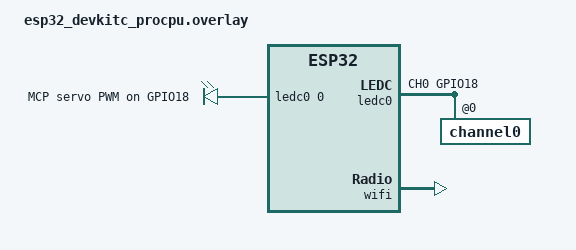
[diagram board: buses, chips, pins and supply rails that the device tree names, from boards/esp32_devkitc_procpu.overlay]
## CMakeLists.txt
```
cmake_minimum_required(VERSION 3.20.0)

find_package(Zephyr REQUIRED HINTS $ENV{ZEPHYR_BASE})
project(mcp_zephyr_app)

set(MCP_ROOT ${CMAKE_CURRENT_LIST_DIR}/../../..)
target_include_directories(
  app PRIVATE ${MCP_ROOT}/include ${MCP_ROOT}/third_party/jsmn
              ${MCP_ROOT}/examples/common ${CMAKE_CURRENT_LIST_DIR}/include)
target_sources(
  app PRIVATE
  ${MCP_ROOT}/src/core/message.c
  ${MCP_ROOT}/src/core/json_writer.c
  ${MCP_ROOT}/src/server/server.c
  ${MCP_ROOT}/src/transport/transport.c
  ${MCP_ROOT}/src/transport/http_transport.c
  ${MCP_ROOT}/src/transport/mqtt_binding.c
  ${MCP_ROOT}/examples/common/demo_tools.c
  ${CMAKE_CURRENT_LIST_DIR}/src/main.c
  ${CMAKE_CURRENT_LIST_DIR}/src/servo_backend.c)
if(CONFIG_WIFI)
  target_sources(app PRIVATE ${CMAKE_CURRENT_LIST_DIR}/src/wifi.c)
endif()
target_compile_definitions(app PRIVATE MCP_VERSION="0.2.0")

set(WIFI_SSID_VALUE $ENV{WIFI_SSID})
set(WIFI_PASS_VALUE $ENV{WIFI_PASS})
if(DEFINED WIFI_SSID)
  set(WIFI_SSID_VALUE ${WIFI_SSID})
endif()
if(DEFINED WIFI_PASS)
  set(WIFI_PASS_VALUE ${WIFI_PASS})
endif()
if(NOT WIFI_SSID_VALUE)
  set(WIFI_SSID_VALUE "WIFI_SSID_NOT_SET")
endif()
if(NOT WIFI_PASS_VALUE)
  set(WIFI_PASS_VALUE "WIFI_PASS_NOT_SET")
endif()
target_compile_definitions(app PRIVATE WIFI_SSID="${WIFI_SSID_VALUE}"
                                       WIFI_PASS="${WIFI_PASS_VALUE}")
```

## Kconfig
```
# Pull in Zephyr's Kconfig tree so standard symbols are available to the app
source "Kconfig.zephyr"

menu "MCP Zephyr App"

endmenu
```

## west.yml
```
manifest:
  defaults:
    remote: zephyrproject

  remotes:
    - name: zephyrproject
      url-base: https://github.com/zephyrproject-rtos

  projects:
    - name: zephyr
      remote: zephyrproject
      repo-path: zephyr
      revision: v4.3.0
      # Checkout Zephyr under the app folder to avoid name/path collisions
      path: zephyr
      import: true

  self:
    # The manifest repository already lives here when scripts/build-zephyr.sh
    # initializes examples/zephyr as the west workspace.
    path: mcp_server
```

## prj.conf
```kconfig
## Minimal MCP over Wi-Fi configuration (ESP32, Zephyr 4.3)

# POSIX compatibility used by the compact socket transport
CONFIG_POSIX_API=y

# Logging and console
CONFIG_LOG=y
CONFIG_LOG_DEFAULT_LEVEL=2
CONFIG_PRINTK=y
CONFIG_UART_CONSOLE=y
CONFIG_CONSOLE=y

# Console hardware
CONFIG_SERIAL=y

# Networking core
CONFIG_NETWORKING=y
CONFIG_NET_SOCKETS=y
CONFIG_NET_IPV4=y
CONFIG_NET_TCP=y

# Disable heavier subsystems
CONFIG_SHELL=n
CONFIG_PM=n
CONFIG_SMP=n

# Stack / heap
CONFIG_MAIN_STACK_SIZE=12288
CONFIG_SYSTEM_WORKQUEUE_STACK_SIZE=4096
CONFIG_HEAP_MEM_POOL_SIZE=46384
```

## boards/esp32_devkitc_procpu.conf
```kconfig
# ESP32 board configuration (Zephyr 4.3)
# Keep only valid symbols for the current tree.

# Libc and actuator hardware
CONFIG_NEWLIB_LIBC=y
CONFIG_GPIO=y
CONFIG_PWM=y

# WiFi core
CONFIG_WIFI=y
CONFIG_NET_DHCPV4=y
CONFIG_NET_MGMT=y
CONFIG_NET_MGMT_EVENT=y
CONFIG_NET_L2_WIFI_MGMT=y

# Enable ESP32 Wi-Fi driver (requires blobs)
CONFIG_WIFI_ESP32=y

# Auto DHCP when STA connects
CONFIG_ESP32_WIFI_STA_AUTO_DHCPV4=y

# If you have an older silicon revision, you may need this; otherwise leave unset
CONFIG_ESP32_USE_UNSUPPORTED_REVISION=y
```

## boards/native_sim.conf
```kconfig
# Native simulation configuration for MCP server
# Uses native offloaded sockets (localhost access, no sudo required)

# Logging and console
CONFIG_LOG=y
CONFIG_PRINTK=y

# Disable TAP interface
CONFIG_ETH_NATIVE_TAP=n

# Enable network drivers and sockets with offloading
CONFIG_NET_DRIVERS=y
CONFIG_NET_SOCKETS=y
CONFIG_NET_SOCKETS_OFFLOAD=y
CONFIG_NET_NATIVE_OFFLOADED_SOCKETS=y

# Disable WiFi
CONFIG_WIFI=n

# Stack / heap
CONFIG_MAIN_STACK_SIZE=8192
CONFIG_SYSTEM_WORKQUEUE_STACK_SIZE=4096
CONFIG_HEAP_MEM_POOL_SIZE=46384
CONFIG_COMMON_LIBC_MALLOC_ARENA_SIZE=32768
```

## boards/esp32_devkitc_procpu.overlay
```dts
#include <zephyr/dt-bindings/pwm/pwm.h>

/ {
	aliases {
		servo-pwm = &servo_pwm;
	};

	pwmleds {
		compatible = "pwm-leds";
		servo_pwm: servo_pwm_gpio18 {
			label = "MCP servo PWM on GPIO18";
			pwms = <&ledc0 0 PWM_MSEC(20) PWM_POLARITY_NORMAL>;
		};
	};
};

&pinctrl {
	ledc0_default: ledc0_default {
		group1 {
			pinmux = <LEDC_CH0_GPIO18>;
			output-enable;
		};
	};
};

&ledc0 {
	pinctrl-0 = <&ledc0_default>;
	pinctrl-names = "default";
	status = "okay";
	#address-cells = <1>;
	#size-cells = <0>;
	channel0@0 {
		reg = <0x0>;
		timer = <0>;
	};
};

&wifi {
	status = "okay";
};
```

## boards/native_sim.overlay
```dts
/* Device tree overlay for native_sim board */
/* This is typically minimal for native_sim as it uses host networking */
```

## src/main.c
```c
#include "demo_tools.h"
#include "mcp_transport.h"
#include "servo_backend.h"
#include "wifi.h"

#include <zephyr/kernel.h>
#include <zephyr/logging/log.h>
#include <zephyr/net/net_if.h>
#include <zephyr/net/net_ip.h>
#include <zephyr/net/net_mgmt.h>

LOG_MODULE_REGISTER(mcp_zephyr_app, LOG_LEVEL_INF);

#ifdef CONFIG_BOARD_NATIVE_SIM
#define MCP_ZEPHYR_SERVER_NAME "mcp-c-native-sim"
#define MCP_ZEPHYR_INSTRUCTIONS "Control a simulated servo and inspect its commanded angle."
#else
#define MCP_ZEPHYR_SERVER_NAME "mcp-c-esp32"
#define MCP_ZEPHYR_INSTRUCTIONS "Control the ESP32 servo on GPIO18 and inspect its commanded angle."
#endif

#ifdef CONFIG_WIFI
static struct net_mgmt_event_callback ipv4_cb;

static void log_ipv4(struct net_if *iface) {
    struct in_addr *address = net_if_ipv4_get_global_addr(iface, NET_ADDR_PREFERRED);
    if (address && address->s_addr != 0) {
        char text[NET_IPV4_ADDR_LEN];
        net_addr_ntop(AF_INET, address, text, sizeof(text));
        LOG_INF("MCP endpoint: http://%s:8080/mcp", text);
    }
}

static void ipv4_event_handler(struct net_mgmt_event_callback *callback, uint64_t event,
                               struct net_if *iface) {
    ARG_UNUSED(callback);
    if (event == NET_EVENT_IPV4_ADDR_ADD) log_ipv4(iface);
}
#endif

int main(void) {
    mcp_server_config_t server_config = {
        .name = MCP_ZEPHYR_SERVER_NAME,
        .version = MCP_VERSION,
        .instructions = MCP_ZEPHYR_INSTRUCTIONS,
        .max_request_size = 4096,
    };
    mcp_http_config_t http_config = {
        .bind_address = "0.0.0.0",
        .port = 8080,
        .backlog = 4,
    };
    mcp_server_t *server;
    mcp_transport_t http;
    servo_backend_t servo;

#ifdef CONFIG_WIFI
    wifi_init(NULL);
    if (connect_to_wifi() < 0 || wait_for_wifi_connection() < 0) {
        LOG_ERR("Wi-Fi connection failed");
        return 0;
    }
    net_mgmt_init_event_callback(&ipv4_cb, ipv4_event_handler, NET_EVENT_IPV4_ADDR_ADD);
    net_mgmt_add_event_callback(&ipv4_cb);
    log_ipv4(net_if_get_default());
#endif

    if (zephyr_servo_backend_init(&servo) != MCP_OK) return 0;
    server = mcp_server_init(&server_config);
    if (server == NULL || demo_register_tools(server, &servo) != MCP_OK) {
        LOG_ERR("MCP core initialization failed");
        return 0;
    }
    if (mcp_http_transport_init(&http, &http_config) != MCP_OK ||
        mcp_transport_open(&http, server) != MCP_OK) {
        LOG_ERR("MCP HTTP transport initialization failed");
        mcp_server_deinit(server);
        return 0;
    }
    LOG_INF("MCP %s ready; servo backend: %s", MCP_PROTOCOL_VERSION,
            zephyr_servo_backend_is_hardware() ? "PWM hardware" : "simulated");
    while (mcp_transport_poll(&http, 250) == MCP_OK) {}
    mcp_transport_close(&http);
    mcp_server_deinit(server);
    return 0;
}
```

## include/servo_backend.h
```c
#ifndef MCP_ZEPHYR_SERVO_BACKEND_H
#define MCP_ZEPHYR_SERVO_BACKEND_H

#include "demo_tools.h"

/* Uses the servo-pwm devicetree alias when present, otherwise the fake backend. */
int zephyr_servo_backend_init(servo_backend_t *backend);
int zephyr_servo_backend_is_hardware(void);

#endif
```

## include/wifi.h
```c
/* Minimal Wi‑Fi API used by the Zephyr MCP example */

#pragma once

#include <zephyr/kernel.h>

int wifi_init(void *unused);
int connect_to_wifi(void);
int wait_for_wifi_connection(void);
int wifi_disconnect(void);
```

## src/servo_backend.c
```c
#include "servo_backend.h"

#include <zephyr/device.h>
#include <zephyr/devicetree.h>
#include <zephyr/drivers/pwm.h>
#include <zephyr/logging/log.h>

LOG_MODULE_REGISTER(mcp_servo, LOG_LEVEL_INF);

#if DT_NODE_HAS_STATUS(DT_ALIAS(servo_pwm), okay)

static const struct pwm_dt_spec servo_pwm = PWM_DT_SPEC_GET(DT_ALIAS(servo_pwm));
static int current_angle = 90;

static int set_angle(servo_backend_t *backend, int angle) {
    uint32_t pulse_us = 500U + ((uint32_t)angle * 2000U) / 180U;
    int result;
    ARG_UNUSED(backend);
    result = pwm_set_dt(&servo_pwm, PWM_MSEC(20), PWM_USEC(pulse_us));
    if (result == 0) current_angle = angle;
    return result == 0 ? MCP_OK : MCP_ERR;
}

static int get_angle(servo_backend_t *backend, int *angle) {
    ARG_UNUSED(backend);
    *angle = current_angle;
    return MCP_OK;
}

int zephyr_servo_backend_init(servo_backend_t *backend) {
    if (!pwm_is_ready_dt(&servo_pwm)) {
        LOG_ERR("Servo PWM device is not ready");
        return MCP_ERR;
    }
    backend->set_angle = set_angle;
    backend->get_angle = get_angle;
    backend->state = NULL;
    LOG_INF("Hardware servo enabled on devicetree alias servo-pwm");
    return set_angle(backend, current_angle);
}

int zephyr_servo_backend_is_hardware(void) { return 1; }

#else

static demo_fake_servo_t fake_servo;

int zephyr_servo_backend_init(servo_backend_t *backend) {
    demo_fake_servo_init(backend, &fake_servo);
    LOG_INF("No servo-pwm alias; using deterministic simulated servo");
    return MCP_OK;
}

int zephyr_servo_backend_is_hardware(void) { return 0; }

#endif
```

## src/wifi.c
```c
#include <zephyr/logging/log.h>
#include <zephyr/net/net_mgmt.h>
#include <zephyr/net/wifi_mgmt.h>
#include <zephyr/net/net_if.h>
#include <zephyr/kernel.h>
#include <string.h>

LOG_MODULE_REGISTER(wifi, LOG_LEVEL_INF);

static struct {
    struct k_sem connected;
    struct k_sem disconnected;
    int status;
} wifi_ctx;

static void wifi_mgmt_event_handler(struct net_mgmt_event_callback *cb, uint64_t mgmt_event,
                                    struct net_if *iface) {
    ARG_UNUSED(iface);

    if (mgmt_event == NET_EVENT_WIFI_CONNECT_RESULT) {
        const struct wifi_status *status = (const struct wifi_status *) cb->info;
        wifi_ctx.status = status ? status->status : -EIO;
        if (wifi_ctx.status == 0) {
            LOG_INF("WiFi connected");
            k_sem_give(&wifi_ctx.connected);
        } else {
            LOG_ERR("WiFi connect failed: %d", wifi_ctx.status);
        }
    } else if (mgmt_event == NET_EVENT_WIFI_DISCONNECT_RESULT) {
        LOG_INF("WiFi disconnected");
        k_sem_give(&wifi_ctx.disconnected);
    }
}

int wifi_init(void *unused) {
    ARG_UNUSED(unused);
    k_sem_init(&wifi_ctx.connected, 0, 1);
    k_sem_init(&wifi_ctx.disconnected, 0, 1);
    wifi_ctx.status = -1;

    static struct net_mgmt_event_callback wifi_cb;
    net_mgmt_init_event_callback(&wifi_cb, wifi_mgmt_event_handler,
                                 NET_EVENT_WIFI_CONNECT_RESULT | NET_EVENT_WIFI_DISCONNECT_RESULT);
    net_mgmt_add_event_callback(&wifi_cb);
    return 0;
}

int connect_to_wifi(void) {
    struct net_if *iface = net_if_get_default();
    struct wifi_connect_req_params cnx = {0};

#ifdef WIFI_SSID
    cnx.ssid = WIFI_SSID;
    cnx.ssid_length = strlen(WIFI_SSID);
#else
#error "WIFI_SSID is not defined"
#endif
#ifdef WIFI_PASS
    cnx.psk = WIFI_PASS;
    cnx.psk_length = strlen(WIFI_PASS);
    cnx.security = WIFI_SECURITY_TYPE_PSK;
#else
    cnx.security = WIFI_SECURITY_TYPE_NONE;
#endif
    cnx.channel = WIFI_CHANNEL_ANY;
    cnx.timeout = SYS_FOREVER_MS;

    int ret = net_mgmt(NET_REQUEST_WIFI_CONNECT, iface, &cnx, sizeof(cnx));
    if (ret) {
        LOG_ERR("net_mgmt connect failed: %d", ret);
        return ret;
    }
    return 0;
}

int wait_for_wifi_connection(void) {
    if (k_sem_take(&wifi_ctx.connected, K_SECONDS(20)) != 0) {
        return -ETIMEDOUT;
    }
    return wifi_ctx.status;
}

int wifi_disconnect(void) {
    struct net_if *iface = net_if_get_default();
    int ret = net_mgmt(NET_REQUEST_WIFI_DISCONNECT, iface, NULL, 0);
    if (ret) {
        LOG_WRN("WiFi disconnect returned: %d", ret);
    }
    return ret;
}
```
